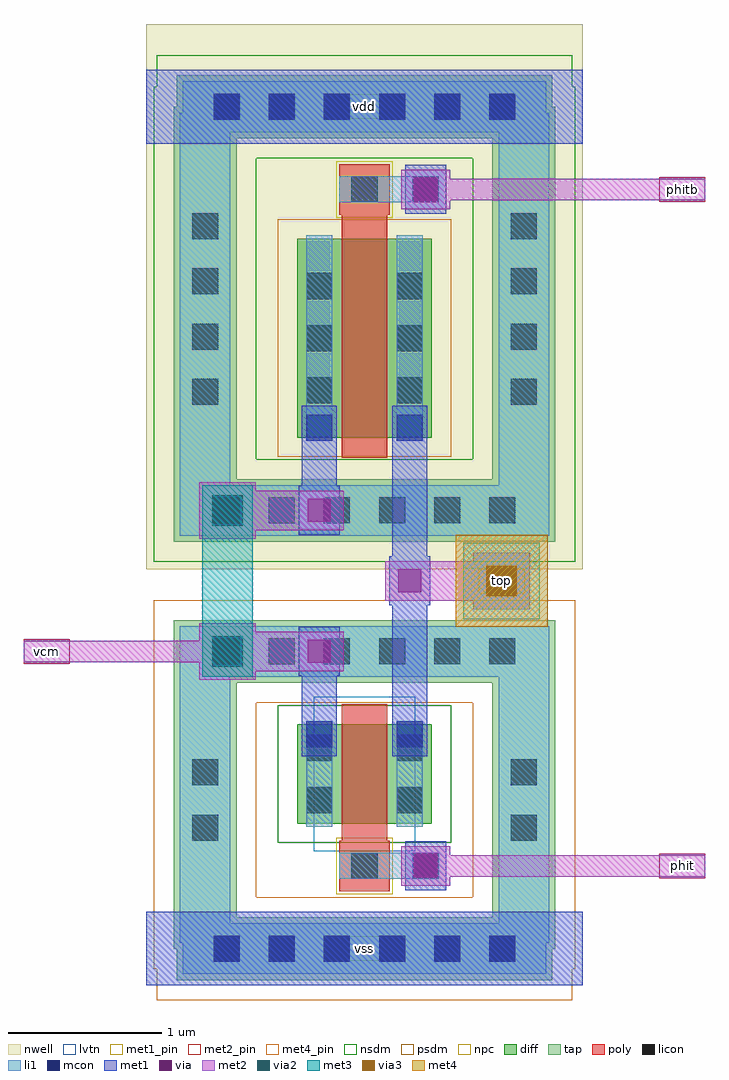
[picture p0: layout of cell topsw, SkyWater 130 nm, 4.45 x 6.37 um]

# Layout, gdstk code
import gdstk
lib = gdstk.Library(unit=1e-6, precision=1e-09)
def R(c, l, rs):  # rectangles x0, y0, x1, y1
    for r in rs: c.add(gdstk.rectangle(r[:2], r[2:], *l))
def A(c, l, x, y, w, h, nx, ny, dx, dy):  # array of equal rectangles
    R(c, l, [(x+i*dx, y+j*dy, x+i*dx+w, y+j*dy+h) for i in range(nx) for j in range(ny)])
nwell = (64, 20)
diff = (65, 20)
tap = (65, 44)
poly = (66, 20)
licon = (66, 44)
li1 = (67, 20)
mcon = (67, 44)
met1_pin = (68, 16)
met1 = (68, 20)
via = (68, 44)
met2_pin = (69, 16)
met2 = (69, 20)
via2 = (69, 44)
met3 = (70, 20)
via3 = (70, 44)
met4_pin = (71, 16)
met4 = (71, 20)
nsdm = (93, 44)
psdm = (94, 20)
npc = (95, 20)
lvtn = (125, 44)

topsw = lib.new_cell('topsw')
R(topsw, nwell, [(-1.425,2.715,1.425,6.275)])
R(topsw, diff, [(-0.44,1.055,0.44,1.705), (-0.44,3.575,0.44,4.875)])
R(topsw, tap, [(-1.225,0.035,1.225,0.445), (-1.245,0.24,-0.835,2.18), (0.835,0.24,1.245,2.18), (-1.245,1.975,1.245,2.385), (-1.245,2.895,1.245,3.305), (-1.245,3.1,-0.835,5.735), (0.835,3.1,1.245,5.735), (-1.225,5.53,1.225,5.94)])
R(topsw, poly, [(-0.165,0.615,0.165,0.945), (-0.15,0.945,0.15,1.835), (-0.15,3.445,0.15,5.03), (-0.165,5.03,0.165,5.36)])
A(topsw, licon, -0.985, 0.155, 0.17, 0.17, 6, 2, 0.36, 1.94)
A(topsw, licon, -0.985, 3.015, 0.17, 0.17, 6, 2, 0.36, 2.635)
A(topsw, licon, -1.125, 3.79, 0.17, 0.17, 1, 4, 0, 0.36)
A(topsw, licon, 0.955, 3.79, 0.17, 0.17, 1, 4, 0, 0.36)
A(topsw, licon, -0.38, 3.8, 0.17, 0.17, 1, 3, 0, 0.34)
A(topsw, licon, 0.21, 3.8, 0.17, 0.17, 1, 3, 0, 0.34)
R(topsw, licon, [(-0.085,0.695,0.085,0.865), (-1.125,0.945,-0.955,1.115), (0.955,0.945,1.125,1.115), (-0.38,1.125,-0.21,1.295), (0.21,1.125,0.38,1.295), (-1.125,1.305,-0.955,1.475), (0.955,1.305,1.125,1.475), (-0.38,1.465,-0.21,1.635), (0.21,1.465,0.38,1.635), (-0.085,5.11,0.085,5.28)])
R(topsw, li1, [(-1.185,0.075,1.185,0.405), (-1.205,0.28,-0.875,2.14), (0.875,0.28,1.205,2.14), (-0.165,0.695,0.485,0.865), (-0.165,0.695,0.165,0.865), (-0.38,1.035,-0.21,1.725), (0.21,1.035,0.38,1.725), (-1.205,2.015,1.205,2.345), (-1.205,2.935,1.205,3.265), (-1.205,3.14,-0.875,5.695), (0.875,3.14,1.205,5.695), (-0.38,3.555,-0.21,4.895), (0.21,3.555,0.38,4.895), (-0.165,5.11,0.485,5.28), (-0.165,5.11,0.165,5.28), (-1.185,5.57,1.185,5.9)])
A(topsw, mcon, -0.985, 0.155, 0.17, 0.17, 6, 2, 0.36, 5.495)
R(topsw, mcon, [(0.315,0.695,0.485,0.865), (-0.38,1.555,-0.21,1.725), (0.21,1.555,0.38,1.725), (-0.38,3.555,-0.21,3.725), (0.21,3.555,0.38,3.725), (0.315,5.11,0.485,5.28)])
R(topsw, met1_pin, [(-0.15,0.16,0.15,0.32), (-0.15,5.655,0.15,5.815)])
R(topsw, met1, [(-1.425,0,1.425,0.48), (0.265,0.62,0.535,0.94), (-0.41,1.495,-0.18,1.785), (0.18,1.495,0.41,1.785), (-0.41,1.64,-0.18,2.18), (0.18,1.64,0.41,2.64), (-0.43,2.02,-0.16,2.34), (-0.41,2.02,-0.18,2.34), (0.16,2.48,0.43,2.8), (0.18,2.48,0.41,2.8), (0.18,2.64,0.41,3.64), (-0.43,2.94,-0.16,3.26), (-0.41,2.94,-0.18,3.26), (-0.41,3.1,-0.18,3.64), (-0.41,3.495,-0.18,3.785), (0.18,3.495,0.41,3.785), (0.265,5.035,0.535,5.355), (-1.425,5.495,1.425,5.975)])
R(topsw, via, [(0.325,0.705,0.475,0.855), (-0.37,2.105,-0.22,2.255), (0.22,2.565,0.37,2.715), (-0.37,3.025,-0.22,3.175), (0.325,5.12,0.475,5.27)])
R(topsw, met2_pin, [(1.925,0.7,2.225,0.86), (-2.225,2.1,-1.925,2.26), (1.925,5.115,2.225,5.275)])
R(topsw, met2, [(0.24,0.65,0.56,0.91), (0.4,0.71,2.225,0.85), (-1.08,1.995,-0.71,2.365), (-1.055,2.05,-0.135,2.31), (-0.455,2.05,-0.135,2.31), (-2.225,2.11,-0.295,2.25), (0.71,2.455,1.08,2.825), (0.135,2.51,0.455,2.77), (0.135,2.51,0.455,2.77), (0.295,2.51,0.895,2.77), (-1.08,2.915,-0.71,3.285), (-1.055,2.97,-0.135,3.23), (-0.455,2.97,-0.135,3.23), (0.24,5.065,0.56,5.325), (0.4,5.125,2.225,5.265)])
R(topsw, via2, [(-0.995,2.08,-0.795,2.28), (0.795,2.54,0.995,2.74), (-0.995,3,-0.795,3.2)])
R(topsw, met3, [(-1.06,2.015,-0.73,2.345), (-1.06,2.015,-0.73,3.265), (0.645,2.39,1.145,2.89), (-1.06,2.935,-0.73,3.265)])
R(topsw, via3, [(0.795,2.54,0.995,2.74)])
R(topsw, met4_pin, [(0.745,2.56,1.045,2.72)])
R(topsw, met4, [(0.595,2.34,1.195,2.94)])
R(topsw, nsdm, [(-0.565,0.93,0.565,1.83), (-1.375,2.765,1.375,3.435), (-1.375,2.97,-0.705,5.865), (0.705,2.97,1.375,5.865), (-1.355,5.4,1.355,6.07)])
R(topsw, psdm, [(-1.355,-0.095,1.355,0.575), (-1.375,0.11,-0.705,2.31), (0.705,0.11,1.375,2.31), (-1.375,1.845,1.375,2.515), (-0.565,3.45,0.565,5)])
R(topsw, npc, [(-0.185,0.595,0.185,0.965), (-0.185,5.01,0.185,5.38)])
R(topsw, lvtn, [(-0.33,0.875,0.33,1.885)])
topsw.add(gdstk.Label('top', (0.895,2.64), layer=71, texttype=5))
topsw.add(gdstk.Label('vcm', (-2.075,2.18), layer=69, texttype=5))
topsw.add(gdstk.Label('phit', (2.075,0.78), layer=69, texttype=5))
topsw.add(gdstk.Label('phitb', (2.075,5.195), layer=69, texttype=5))
topsw.add(gdstk.Label('vss', (0,0.24), layer=68, texttype=5))
topsw.add(gdstk.Label('vdd', (0,5.735), layer=68, texttype=5))

lib.write_gds('topsw.gds')
